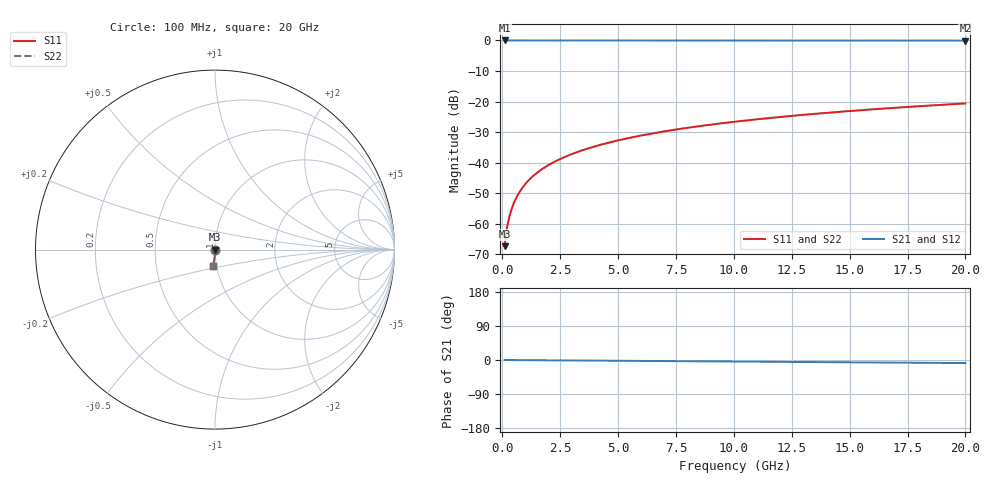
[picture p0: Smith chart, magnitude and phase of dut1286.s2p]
! Touchstone file exported from HFSS 2026.1.0
!  File:  C:/ffzhzh/LocalFiles/Ansys_Project_Files/temp_train_TSV_1286_1783194444_18472.aedt
!  Generated:  03:48:39 AM Jul  5, 2026
!  Design:  TSV
!  Project:  temp_train_TSV_1286_1783194444_18472
! Variables:
!  h_bsmrdl = 2um
!  h_ox = 20um
!  h_rdl = 5um
!  h_sub = 64.33um
!  h_tmrdl = 5um
!  h_tsv = 64.33um
!  h_via = 3um
!  l_bsmrdl = 300um
!  l_sub = 426.58um
!  l_tmrdl = 200um
!  m_sub = 200um
!  pitch = 31.51um
!  r_tsv = 13.29um
!  s_tmrdl = 10um
!  w_bsmrdl = 18um
!  w_sub = 500um
!  w_tmrdl = 12um
!  x_tsv_center1 = 206um
!  x_tsv_center2 = 524um
!  x_tsv_center3 = 736um
!  x_tsv_center4 = 1054um
!  x_tsv_center5 = 1266um
!  x_tsv_center6 = 1584um
# GHz S MA R 50.000000
! Terminal data exported
! Port[1] = TSV1_1_T1
! Port[2] = TSV1_1_T2
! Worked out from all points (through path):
!   200 points, 100 MHz to 20 GHz, reference 50 ohm
!   highest |S21| = 0.00 dB at 100 MHz (marker M1); lowest = 0.0 dB at 20 GHz (marker M2)
!   group delay of S21, straight-line fit = 1.12 ps
!   lowest |S11| = -67.4 dB at 100 MHz (marker M3), VSWR 1.00, Z = 50 - j0.042 ohm
!   |S11| at or under -10 dB: start of sweep to end of sweep
!   |S22| runs from -67.4 to -20.6 dB; largest |S21 - S12| = 5e-15
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0.1  0.0004281 -78.6  0.9999 -0.0  0.9999 -0.0  0.0004281 -78.6
! Gamma 0 0 0 0
! Port Impedance 50 0 50 0
0.2  0.0008503 -83.2  0.9999 -0.1  0.9999 -0.1  0.0008503 -83.2
0.3  0.001283 -84.5  0.9999 -0.1  0.9999 -0.1  0.001283 -84.5
0.4  0.001725 -85.1  0.9998 -0.2  0.9998 -0.2  0.001725 -85.1
0.5  0.002175 -85.4  0.9998 -0.2  0.9998 -0.2  0.002175 -85.4
0.7  0.00309 -86.0  0.9998 -0.3  0.9998 -0.3  0.00309 -86.0
0.8  0.003552 -86.3  0.9997 -0.3  0.9997 -0.3  0.003552 -86.3
1  0.004481 -86.8  0.9997 -0.4  0.9997 -0.4  0.004481 -86.8
1.2  0.005411 -87.2  0.9997 -0.5  0.9997 -0.5  0.005411 -87.2
1.4  0.006342 -87.6  0.9996 -0.6  0.9996 -0.6  0.006342 -87.6
1.7  0.007738 -88.1  0.9996 -0.7  0.9996 -0.7  0.007738 -88.1
2  0.009133 -88.4  0.9996 -0.8  0.9996 -0.8  0.009133 -88.4
2.7  0.01239 -89.1  0.9995 -1.1  0.9995 -1.1  0.01239 -89.1
3.5  0.01611 -89.7  0.9994 -1.4  0.9994 -1.4  0.01611 -89.7
4.2  0.01937 -90.1  0.9993 -1.7  0.9993 -1.7  0.01937 -90.1
5  0.02311 -90.6  0.9991 -2.0  0.9991 -2.0  0.02311 -90.6
6.8  0.03153 -91.5  0.9988 -2.8  0.9988 -2.8  0.03153 -91.5
8.3  0.03855 -92.2  0.9985 -3.4  0.9985 -3.4  0.03855 -92.2
10.1  0.04698 -93.1  0.998 -4.1  0.998 -4.1  0.04698 -93.1
13.4  0.0624 -94.5  0.9971 -5.4  0.9971 -5.4  0.0624 -94.5
16.7  0.07778 -96.0  0.9959 -6.8  0.9959 -6.8  0.07778 -96.0
20  0.09309 -97.3  0.9944 -8.1  0.9944 -8.1  0.09309 -97.3
